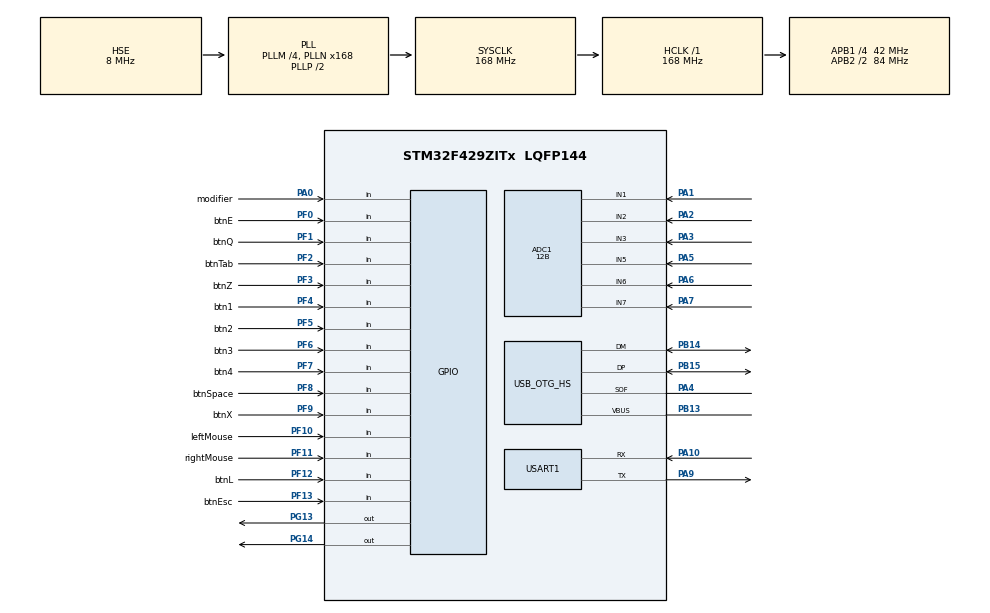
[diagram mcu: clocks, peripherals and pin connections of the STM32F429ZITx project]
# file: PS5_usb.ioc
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ADC1.Channel-1\#ChannelRegularConversion=ADC_CHANNEL_6
ADC1.Channel-2\#ChannelRegularConversion=ADC_CHANNEL_7
ADC1.Channel-3\#ChannelRegularConversion=ADC_CHANNEL_3
ADC1.Channel-4\#ChannelRegularConversion=ADC_CHANNEL_5
ADC1.ContinuousConvMode=ENABLE
ADC1.DMAContinuousRequests=ENABLE
ADC1.EOCSelection=ADC_EOC_SEQ_CONV
ADC1.NbrOfConversion=4
ADC1.NbrOfConversionFlag=1
ADC1.Rank-1\#ChannelRegularConversion=1
ADC1.Rank-2\#ChannelRegularConversion=2
ADC1.Rank-3\#ChannelRegularConversion=3
ADC1.Rank-4\#ChannelRegularConversion=4
ADC1.Resolution=ADC_RESOLUTION_12B
ADC1.SamplingTime-1\#ChannelRegularConversion=ADC_SAMPLETIME_480CYCLES
ADC1.SamplingTime-2\#ChannelRegularConversion=ADC_SAMPLETIME_480CYCLES
ADC1.SamplingTime-3\#ChannelRegularConversion=ADC_SAMPLETIME_480CYCLES
ADC1.SamplingTime-4\#ChannelRegularConversion=ADC_SAMPLETIME_480CYCLES
ADC1.master=1
Dma.ADC1.0.Direction=DMA_PERIPH_TO_MEMORY
Dma.ADC1.0.FIFOMode=DMA_FIFOMODE_DISABLE
Dma.ADC1.0.Instance=DMA2_Stream4
Dma.ADC1.0.MemDataAlignment=DMA_MDATAALIGN_HALFWORD
Dma.ADC1.0.MemInc=DMA_MINC_ENABLE
Dma.ADC1.0.Mode=DMA_CIRCULAR
Dma.ADC1.0.PeriphDataAlignment=DMA_PDATAALIGN_HALFWORD
Dma.ADC1.0.PeriphInc=DMA_PINC_DISABLE
Dma.ADC1.0.Priority=DMA_PRIORITY_MEDIUM
Dma.Request0=ADC1
Mcu.Family=STM32F4
Mcu.Name=STM32F429ZITx
Mcu.Package=LQFP144
NVIC.ADC_IRQn=true\:0\:0\:false\:false\:true\:true\:true\:true
NVIC.DMA2_Stream4_IRQn=true\:0\:0\:false\:false\:true\:false\:true\:true
NVIC.OTG_HS_IRQn=true\:0\:0\:false\:false\:true\:false\:true\:true
NVIC.PriorityGroup=NVIC_PRIORITYGROUP_4
PA0/WKUP.GPIO_Label=modifier
PA0/WKUP.GPIO_PuPd=GPIO_PULLDOWN
PA0/WKUP.Signal=GPIO_Input
PA1.Signal=ADCx_IN1
PA10.Mode=Asynchronous
PA10.Signal=USART1_RX
PA2.Signal=ADCx_IN2
PA3.Signal=ADCx_IN3
PA4.Mode=Activate_SOF_FS
PA4.Signal=USB_OTG_HS_SOF
PA5.Signal=ADCx_IN5
PA6.Signal=ADCx_IN6
PA7.Signal=ADCx_IN7
PA9.Mode=Asynchronous
PA9.Signal=USART1_TX
PB13.Mode=Activate_VBUS_FS
PB13.Signal=USB_OTG_HS_VBUS
PB14.Mode=Device_Only_FS
PB14.Signal=USB_OTG_HS_DM
PB15.Mode=Device_Only_FS
PB15.Signal=USB_OTG_HS_DP
PF0.GPIO_Label=btnE
PF0.GPIO_PuPd=GPIO_PULLDOWN
PF0.Signal=GPIO_Input
PF1.GPIO_Label=btnQ
PF1.GPIO_Mode=GPIO_MODE_INPUT
PF1.GPIO_PuPd=GPIO_PULLDOWN
PF1.Signal=GPIO_Input
PF10.GPIO_Label=leftMouse
PF10.GPIO_Mode=GPIO_MODE_INPUT
PF10.GPIO_PuPd=GPIO_PULLDOWN
PF10.Signal=GPIO_Input
PF11.GPIO_Label=rightMouse
PF11.GPIO_Mode=GPIO_MODE_INPUT
PF11.GPIO_PuPd=GPIO_PULLDOWN
PF11.Signal=GPIO_Input
PF12.GPIO_Label=btnL
PF12.GPIO_Mode=GPIO_MODE_INPUT
PF12.GPIO_PuPd=GPIO_PULLDOWN
PF12.Signal=GPIO_Input
PF13.GPIO_Label=btnEsc
PF13.GPIO_Mode=GPIO_MODE_INPUT
PF13.GPIO_PuPd=GPIO_PULLDOWN
PF13.Signal=GPIO_Input
PF2.GPIO_Label=btnTab
PF2.GPIO_Mode=GPIO_MODE_INPUT
PF2.GPIO_PuPd=GPIO_PULLDOWN
PF2.Signal=GPIO_Input
PF3.GPIO_Label=btnZ
PF3.GPIO_Mode=GPIO_MODE_INPUT
PF3.GPIO_PuPd=GPIO_PULLDOWN
PF3.Signal=GPIO_Input
PF4.GPIO_Label=btn1
PF4.GPIO_Mode=GPIO_MODE_INPUT
PF4.GPIO_PuPd=GPIO_PULLDOWN
PF4.Signal=GPIO_Input
PF5.GPIO_Label=btn2
PF5.GPIO_Mode=GPIO_MODE_INPUT
PF5.GPIO_PuPd=GPIO_PULLDOWN
PF5.Signal=GPIO_Input
PF6.GPIO_Label=btn3
PF6.GPIO_Mode=GPIO_MODE_INPUT
PF6.GPIO_PuPd=GPIO_PULLDOWN
PF6.Signal=GPIO_Input
PF7.GPIO_Label=btn4
PF7.GPIO_Mode=GPIO_MODE_INPUT
PF7.GPIO_PuPd=GPIO_PULLDOWN
PF7.Signal=GPIO_Input
PF8.GPIO_Label=btnSpace
PF8.GPIO_Mode=GPIO_MODE_INPUT
PF8.GPIO_PuPd=GPIO_PULLDOWN
PF8.Signal=GPIO_Input
PF9.GPIO_Label=btnX
PF9.GPIO_Mode=GPIO_MODE_INPUT
PF9.GPIO_PuPd=GPIO_PULLDOWN
PF9.Signal=GPIO_Input
PG13.GPIO_PuPd=GPIO_PULLUP
PG13.Signal=GPIO_Output
PG14.GPIO_PuPd=GPIO_PULLUP
PG14.Signal=GPIO_Output
PH0/OSC_IN.Mode=HSE-External-Oscillator
PH0/OSC_IN.Signal=RCC_OSC_IN
PH1/OSC_OUT.Mode=HSE-External-Oscillator
PH1/OSC_OUT.Signal=RCC_OSC_OUT
ProjectManager.HeapSize=0x200
ProjectManager.StackSize=0x400
ProjectManager.TargetToolchain=STM32CubeIDE
RCC.48MHZClocksFreq_Value=48000000
RCC.AHBFreq_Value=168000000
RCC.APB1CLKDivider=RCC_HCLK_DIV4
RCC.APB1Freq_Value=42000000
RCC.APB1TimFreq_Value=84000000
RCC.APB2CLKDivider=RCC_HCLK_DIV2
RCC.APB2Freq_Value=84000000
RCC.APB2TimFreq_Value=168000000
RCC.CortexFreq_Value=168000000
RCC.HCLKFreq_Value=168000000
RCC.HSE_VALUE=8000000
RCC.HSI_VALUE=16000000
RCC.LSE_VALUE=32768
RCC.PLLM=4
RCC.PLLN=168
RCC.PLLQ=7
RCC.SYSCLKFreq_VALUE=168000000
RCC.SYSCLKSource=RCC_SYSCLKSOURCE_PLLCLK
RCC.VCOOutputFreq_Value=336000000
SH.ADCx_IN1.0=ADC1_IN1,IN1
SH.ADCx_IN2.0=ADC1_IN2,IN2
SH.ADCx_IN3.0=ADC1_IN3,IN3
SH.ADCx_IN5.0=ADC1_IN5,IN5
SH.ADCx_IN6.0=ADC1_IN6,IN6
SH.ADCx_IN7.0=ADC1_IN7,IN7
USART1.VirtualMode=VM_ASYNC
USB_DEVICE.CLASS_NAME_HS=HID
USB_DEVICE.VirtualMode-HID_HS=Hid
USB_DEVICE.VirtualModeHS=Hid_HS
USB_OTG_HS.VirtualMode-Device_Only_FS=Device_Only_FS
VP_USB_DEVICE_VS_USB_DEVICE_HID_HS.Mode=HID_HS
board=custom

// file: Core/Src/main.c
/* USER CODE BEGIN Header */
/**
  ******************************************************************************
  * @file           : main.c
  * @brief          : Main program body
  ******************************************************************************
  * @attention
  *
  * Copyright (c) 2025 STMicroelectronics.
  * All rights reserved.
  *
  * This software is licensed under terms that can be found in the LICENSE file
  * in the root directory of this software component.
  * If no LICENSE file comes with this software, it is provided AS-IS.
  *
  ******************************************************************************
  */
/* USER CODE END Header */
#include "main.h"
#include "usb_device.h"

/* USER CODE BEGIN Includes */
#include "usbd_hid.h"
#include "button_def.h"
#include "mapPinKey.h"
#include "adc_control.h"
#include "string.h"
#include "stdio.h"
/* USER CODE END Includes */

ADC_HandleTypeDef hadc1;
DMA_HandleTypeDef hdma_adc1;

UART_HandleTypeDef huart1;

/* USER CODE BEGIN PV */
extern USBD_HandleTypeDef hUsbDeviceHS;
uint8_t report_changed = 0; // cờ để kiểm tra xem báo cáo có thay đổi hay không
int move_x = 0; // Biến toàn cục để lưu trữ giá trị dịch chuyển joystick theo trục X
int move_y = 0; // Biến toàn cục để lưu trữ giá trị dịch chuyển joystick theo trục Y
int mouse_x = 0; // Biến toàn cục để lưu trữ giá trị dịch chuyển chuột theo trục X
int mouse_y = 0; // Biến toàn cục để lưu trữ giá trị dịch chuyển chuột theo trục Y
extern uint16_t adc_buffer[ADC_BUFFER_SIZE]; // Bộ đệm để lưu trữ giá trị ADC
/* USER CODE END PV */

void SystemClock_Config(void);
static void MX_GPIO_Init(void);
static void MX_DMA_Init(void);
static void MX_ADC1_Init(void);
static void MX_USART1_UART_Init(void);

int main(void)
{

  /* MCU Configuration--------------------------------------------------------*/

  /* Reset of all peripherals, Initializes the Flash interface and the Systick. */
  HAL_Init();

  /* Configure the system clock */
  SystemClock_Config();

  /* Initialize all configured peripherals */
  MX_GPIO_Init();
  MX_DMA_Init();
  MX_USB_DEVICE_Init();
  MX_ADC1_Init();
  MX_USART1_UART_Init();
  /* USER CODE BEGIN 2 */
  HAL_ADC_Start_DMA(&hadc1, (uint32_t*)adc_buffer, ADC_BUFFER_SIZE); // Bắt đầu chuyển đổi ADC với DMA
  int8_t limit = 15;
  /* USER CODE END 2 */

  /* Infinite loop */
  while (1)
  {

    /* USER CODE BEGIN 3 */
    KeyboardReport_t keyboard_report = {0};
    keyboard_report.report_id = 0x01; // ID báo cáo luôn là 0x01
    MouseReport_t mouse_report = {0};
    mouse_report.report_id = 0x02; // ID báo cáo chuột là 0x02
   if (move_x < -limit){
     AddKeyToReport(&keyboard_report, KEY_A);
   }
   else if (move_x > limit){
     AddKeyToReport(&keyboard_report, KEY_D);
   }
  if (move_y < -limit){
    AddKeyToReport(&keyboard_report, KEY_W);
  }
  else if (move_y > limit){
    AddKeyToReport(&keyboard_report, KEY_S);
  }
    CreateKeyboardReport(&keyboard_report); // Tạo báo cáo bàn phím từ các nút nhấn
    int res = USBD_HID_SendReport(&hUsbDeviceHS, (uint8_t*)&keyboard_report, sizeof(keyboard_report));

    if (res != USBD_OK) {
      HAL_GPIO_WritePin(GPIOG, GPIO_PIN_14, GPIO_PIN_SET); // Bật đèn LED nếu gửi báo cáo không thành công
    }
     else {
      HAL_GPIO_WritePin(GPIOG, GPIO_PIN_14, GPIO_PIN_RESET);
     }       // Tắt đèn LED nếu gửi báo cáo thành công
    HAL_Delay(5);

    mouse_report.x = mouse_x; // Cập nhật giá trị dịch chuyển chuột theo trục X
    mouse_report.y = mouse_y; // Cập nhật giá trị dịch chuyển chuột theo trục Y
    mouse_report.wheel = 0; // Không sử dụng cuộn chuột trong trường hợp này
    mouse_report.buttons = 0;
    CreateMouseReport(&mouse_report); // Tạo báo cáo chuột từ các nút nhấn
    res = USBD_HID_SendReport(&hUsbDeviceHS, (uint8_t*)&mouse_report, sizeof(mouse_report));
    if (res != USBD_OK) {
      HAL_GPIO_WritePin(GPIOG, GPIO_PIN_13, GPIO_PIN_SET); // Bật đèn LED nếu gửi báo cáo không thành công
    }
    else {
      HAL_GPIO_WritePin(GPIOG, GPIO_PIN_13, GPIO_PIN_RESET); // Tắt đèn LED nếu gửi báo cáo thành công
    }
//     char msg[64];
//
//     // Format dữ liệu thành chuỗi
//     snprintf(msg, sizeof(msg), "ADC: %d %d %d %d\r\n",
//              move_x, move_y, mouse_x, mouse_y);
//
//     // Gửi qua UART1
//     HAL_UART_Transmit(&huart1, (uint8_t*)msg, strlen(msg), HAL_MAX_DELAY);
    HAL_Delay(5);

  }
  /* USER CODE END 3 */
}

void SystemClock_Config(void)
{
  RCC_OscInitTypeDef RCC_OscInitStruct = {0};
  RCC_ClkInitTypeDef RCC_ClkInitStruct = {0};

  /** Configure the main internal regulator output voltage
  */
  __HAL_RCC_PWR_CLK_ENABLE();
  __HAL_PWR_VOLTAGESCALING_CONFIG(PWR_REGULATOR_VOLTAGE_SCALE1);

  /** Initializes the RCC Oscillators according to the specified parameters
  * in the RCC_OscInitTypeDef structure.
  */
  RCC_OscInitStruct.OscillatorType = RCC_OSCILLATORTYPE_HSE;
  RCC_OscInitStruct.HSEState = RCC_HSE_ON;
  RCC_OscInitStruct.PLL.PLLState = RCC_PLL_ON;
  RCC_OscInitStruct.PLL.PLLSource = RCC_PLLSOURCE_HSE;
  RCC_OscInitStruct.PLL.PLLM = 4;
  RCC_OscInitStruct.PLL.PLLN = 168;
  RCC_OscInitStruct.PLL.PLLP = RCC_PLLP_DIV2;
  RCC_OscInitStruct.PLL.PLLQ = 7;
  if (HAL_RCC_OscConfig(&RCC_OscInitStruct) != HAL_OK)
  {
    Error_Handler();
  }

  /** Initializes the CPU, AHB and APB buses clocks
  */
  RCC_ClkInitStruct.ClockType = RCC_CLOCKTYPE_HCLK|RCC_CLOCKTYPE_SYSCLK
                              |RCC_CLOCKTYPE_PCLK1|RCC_CLOCKTYPE_PCLK2;
  RCC_ClkInitStruct.SYSCLKSource = RCC_SYSCLKSOURCE_PLLCLK;
  RCC_ClkInitStruct.AHBCLKDivider = RCC_SYSCLK_DIV1;
  RCC_ClkInitStruct.APB1CLKDivider = RCC_HCLK_DIV4;
  RCC_ClkInitStruct.APB2CLKDivider = RCC_HCLK_DIV2;

  if (HAL_RCC_ClockConfig(&RCC_ClkInitStruct, FLASH_LATENCY_5) != HAL_OK)
  {
    Error_Handler();
  }
}

static void MX_ADC1_Init(void)
{

  ADC_ChannelConfTypeDef sConfig = {0};

  /** Configure the global features of the ADC (Clock, Resolution, Data Alignment and number of conversion)
  */
  hadc1.Instance = ADC1;
  hadc1.Init.ClockPrescaler = ADC_CLOCK_SYNC_PCLK_DIV4;
  hadc1.Init.Resolution = ADC_RESOLUTION_12B;
  hadc1.Init.ScanConvMode = ENABLE;
  hadc1.Init.ContinuousConvMode = ENABLE;
  hadc1.Init.DiscontinuousConvMode = DISABLE;
  hadc1.Init.ExternalTrigConvEdge = ADC_EXTERNALTRIGCONVEDGE_NONE;
  hadc1.Init.ExternalTrigConv = ADC_SOFTWARE_START;
  hadc1.Init.DataAlign = ADC_DATAALIGN_RIGHT;
  hadc1.Init.NbrOfConversion = 4;
  hadc1.Init.DMAContinuousRequests = ENABLE;
  hadc1.Init.EOCSelection = ADC_EOC_SEQ_CONV;
  if (HAL_ADC_Init(&hadc1) != HAL_OK)
  {
    Error_Handler();
  }

  /** Configure for the selected ADC regular channel its corresponding rank in the sequencer and its sample time.
  */
  sConfig.Channel = ADC_CHANNEL_6;
  sConfig.Rank = 1;
  sConfig.SamplingTime = ADC_SAMPLETIME_480CYCLES;
  if (HAL_ADC_ConfigChannel(&hadc1, &sConfig) != HAL_OK)
  {
    Error_Handler();
  }

  /** Configure for the selected ADC regular channel its corresponding rank in the sequencer and its sample time.
  */
  sConfig.Channel = ADC_CHANNEL_7;
  sConfig.Rank = 2;
  if (HAL_ADC_ConfigChannel(&hadc1, &sConfig) != HAL_OK)
  {
    Error_Handler();
  }

  /** Configure for the selected ADC regular channel its corresponding rank in the sequencer and its sample time.
  */
  sConfig.Channel = ADC_CHANNEL_3;
  sConfig.Rank = 3;
  if (HAL_ADC_ConfigChannel(&hadc1, &sConfig) != HAL_OK)
  {
    Error_Handler();
  }

  /** Configure for the selected ADC regular channel its corresponding rank in the sequencer and its sample time.
  */
  sConfig.Channel = ADC_CHANNEL_5;
  sConfig.Rank = 4;
  if (HAL_ADC_ConfigChannel(&hadc1, &sConfig) != HAL_OK)
  {
    Error_Handler();
  }

}

static void MX_USART1_UART_Init(void)
{

  huart1.Instance = USART1;
  huart1.Init.BaudRate = 115200;
  huart1.Init.WordLength = UART_WORDLENGTH_8B;
  huart1.Init.StopBits = UART_STOPBITS_1;
  huart1.Init.Parity = UART_PARITY_NONE;
  huart1.Init.Mode = UART_MODE_TX_RX;
  huart1.Init.HwFlowCtl = UART_HWCONTROL_NONE;
  huart1.Init.OverSampling = UART_OVERSAMPLING_16;
  if (HAL_UART_Init(&huart1) != HAL_OK)
  {
    Error_Handler();
  }

}

static void MX_DMA_Init(void)
{

  /* DMA controller clock enable */
  __HAL_RCC_DMA2_CLK_ENABLE();

  /* DMA interrupt init */
  /* DMA2_Stream4_IRQn interrupt configuration */
  HAL_NVIC_SetPriority(DMA2_Stream4_IRQn, 0, 0);
  HAL_NVIC_EnableIRQ(DMA2_Stream4_IRQn);

}

static void MX_GPIO_Init(void)
{
  GPIO_InitTypeDef GPIO_InitStruct = {0};

  /* GPIO Ports Clock Enable */
  __HAL_RCC_GPIOF_CLK_ENABLE();
  __HAL_RCC_GPIOH_CLK_ENABLE();
  __HAL_RCC_GPIOA_CLK_ENABLE();
  __HAL_RCC_GPIOB_CLK_ENABLE();
  __HAL_RCC_GPIOG_CLK_ENABLE();

  /*Configure GPIO pin Output Level */
  HAL_GPIO_WritePin(GPIOG, GPIO_PIN_13|GPIO_PIN_14, GPIO_PIN_RESET);

  /*Configure GPIO pins : btnE_Pin btnQ_Pin btnTab_Pin btnZ_Pin
                           btn1_Pin btn2_Pin btn3_Pin btn4_Pin
                           btnSpace_Pin btnX_Pin leftMouse_Pin rightMouse_Pin
                           btnL_Pin btnEsc_Pin */
  GPIO_InitStruct.Pin = btnE_Pin|btnQ_Pin|btnTab_Pin|btnZ_Pin
                          |btn1_Pin|btn2_Pin|btn3_Pin|btn4_Pin
                          |btnSpace_Pin|btnX_Pin|leftMouse_Pin|rightMouse_Pin
                          |btnL_Pin|btnEsc_Pin;
  GPIO_InitStruct.Mode = GPIO_MODE_INPUT;
  GPIO_InitStruct.Pull = GPIO_PULLDOWN;
  HAL_GPIO_Init(GPIOF, &GPIO_InitStruct);

  /*Configure GPIO pin : modifier_Pin */
  GPIO_InitStruct.Pin = modifier_Pin;
  GPIO_InitStruct.Mode = GPIO_MODE_INPUT;
  GPIO_InitStruct.Pull = GPIO_PULLDOWN;
  HAL_GPIO_Init(modifier_GPIO_Port, &GPIO_InitStruct);

  /*Configure GPIO pins : PG13 PG14 */
  GPIO_InitStruct.Pin = GPIO_PIN_13|GPIO_PIN_14;
  GPIO_InitStruct.Mode = GPIO_MODE_OUTPUT_PP;
  GPIO_InitStruct.Pull = GPIO_PULLUP;
  GPIO_InitStruct.Speed = GPIO_SPEED_FREQ_LOW;
  HAL_GPIO_Init(GPIOG, &GPIO_InitStruct);

}

void Error_Handler(void)
{
  __disable_irq();
  while (1)
  {
  }
}
